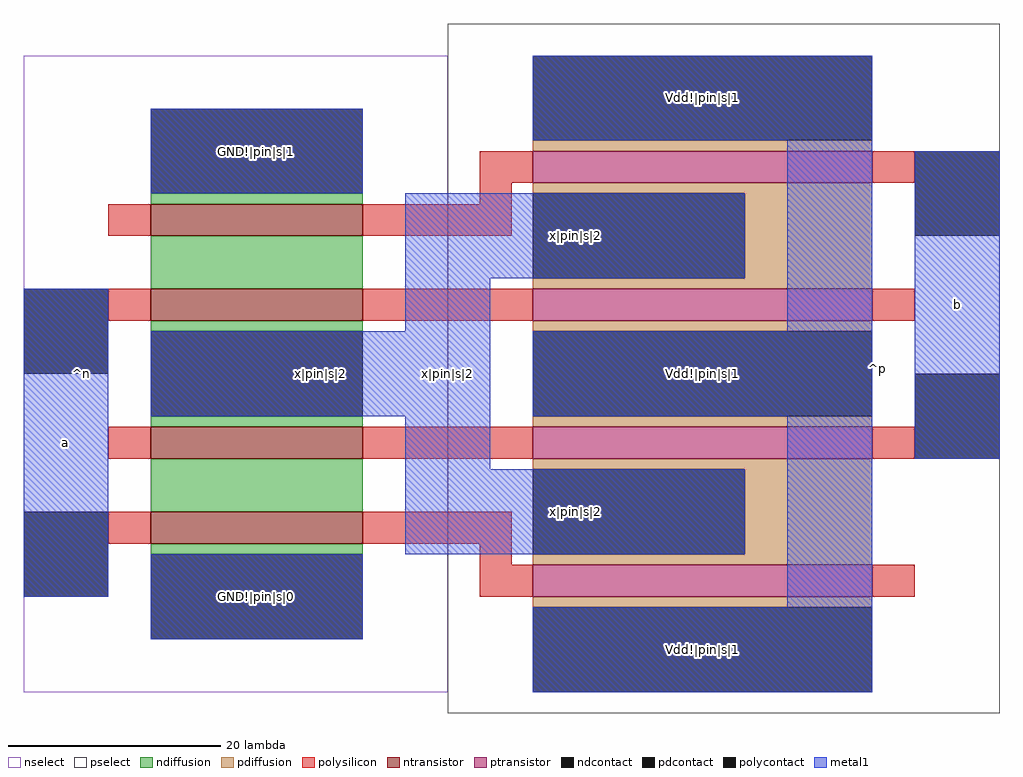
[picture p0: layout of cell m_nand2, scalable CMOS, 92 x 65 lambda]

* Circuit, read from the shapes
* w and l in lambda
.subckt m_nand2 GND!|pin|s|0 GND!|pin|s|1 Vdd!|pin|s|1 a b x|pin|s|2
M1 n1 a GND!|pin|s|0 VSUBS nfet w=20 l=3
M2 x|pin|s|2 b n1 VSUBS nfet w=20 l=3
M3 n2 a x|pin|s|2 VSUBS nfet w=20 l=3
M4 GND!|pin|s|1 b n2 VSUBS nfet w=20 l=3
M5 x|pin|s|2 a Vdd!|pin|s|1 NWELL pfet w=32 l=3 m=2
M6 Vdd!|pin|s|1 b x|pin|s|2 NWELL pfet w=32 l=3 m=2
.ends

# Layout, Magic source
magic
tech scmos
<< nselect >>
rect -40 469 0 529
<< pselect >>
rect 0 467 52 532
<< ndiffusion >>
rect -28 515 -8 516
rect -28 507 -8 512
rect -28 503 -8 504
rect -28 494 -8 495
rect -28 486 -8 491
rect -28 482 -8 483
<< pdiffusion >>
rect 8 520 40 521
rect 8 516 40 517
rect 28 508 40 516
rect 8 507 40 508
rect 8 503 40 504
rect 8 494 40 495
rect 8 490 40 491
rect 28 482 40 490
rect 8 481 40 482
rect 8 477 40 478
<< ntransistor >>
rect -28 512 -8 515
rect -28 504 -8 507
rect -28 491 -8 494
rect -28 483 -8 486
<< ptransistor >>
rect 8 517 40 520
rect 8 504 40 507
rect 8 491 40 494
rect 8 478 40 481
<< polysilicon >>
rect 3 517 8 520
rect 40 517 44 520
rect 3 515 6 517
rect -32 512 -28 515
rect -8 512 6 515
rect -32 504 -28 507
rect -8 504 8 507
rect 40 504 44 507
rect -32 491 -28 494
rect -8 491 8 494
rect 40 491 44 494
rect -32 483 -28 486
rect -8 483 6 486
rect 3 481 6 483
rect 3 478 8 481
rect 40 478 44 481
<< ndcontact >>
rect -28 516 -8 524
rect -28 495 -8 503
rect -28 474 -8 482
<< pdcontact >>
rect 8 521 40 529
rect 8 508 28 516
rect 8 495 40 503
rect 8 482 28 490
rect 8 469 40 477
<< polycontact >>
rect 44 512 52 520
rect -40 499 -32 507
rect 44 491 52 499
rect -40 478 -32 486
<< metal1 >>
rect -28 516 -8 524
rect 8 521 40 529
rect -4 508 28 516
rect -40 478 -32 507
rect -4 503 4 508
rect 32 503 40 521
rect -28 495 4 503
rect 8 495 40 503
rect -4 490 4 495
rect -4 482 28 490
rect -28 474 -8 482
rect 32 477 40 495
rect 44 491 52 520
rect 8 469 40 477
<< labels >>
rlabel metal1 44 491 52 520 1 b
rlabel metal1 -40 478 -32 507 1 a
rlabel space -41 468 -28 530 7 ^n
rlabel space 28 467 53 532 3 ^p
rlabel metal1 8 495 40 503 1 Vdd!|pin|s|1
rlabel metal1 32 469 40 529 1 Vdd!|pin|s|1
rlabel metal1 -4 482 4 516 1 x|pin|s|2
rlabel metal1 -28 495 4 503 1 x|pin|s|2
rlabel metal1 -4 508 28 516 1 x|pin|s|2
rlabel metal1 -4 482 28 490 1 x|pin|s|2
rlabel metal1 -28 474 -8 482 1 GND!|pin|s|0
rlabel metal1 8 521 40 529 1 Vdd!|pin|s|1
rlabel metal1 8 469 40 477 1 Vdd!|pin|s|1
rlabel metal1 -28 516 -8 524 1 GND!|pin|s|1
<< end >>
